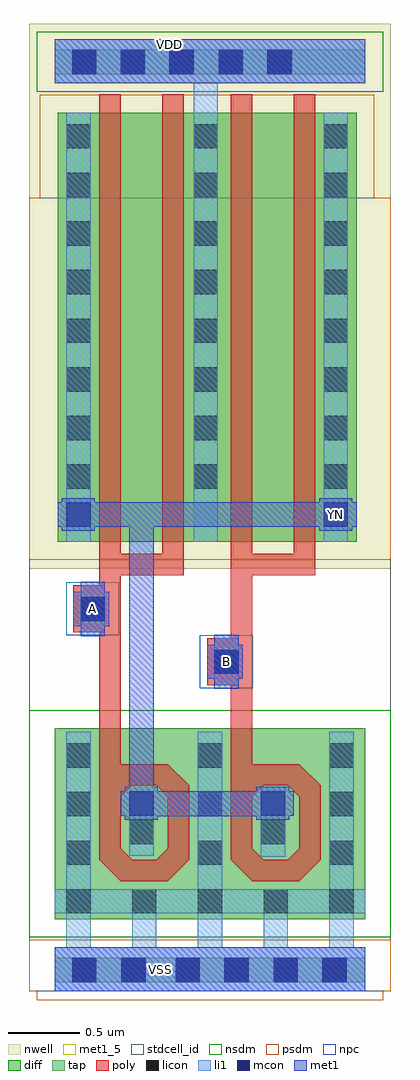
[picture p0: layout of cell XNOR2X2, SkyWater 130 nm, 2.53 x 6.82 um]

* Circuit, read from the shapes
.subckt XNOR2X2 A B VDD VSS YN
XM1 VSS A YN VSS sky130_fd_pr__nfet_01v8 w=2.475 l=0.1489
XM2 VSS B YN VSS sky130_fd_pr__nfet_01v8 w=2.475 l=0.1507
XM3 n1 A YN VDD sky130_fd_pr__pfet_01v8 w=3 l=0.15
XM4 VDD A n1 VDD sky130_fd_pr__pfet_01v8 w=3 l=0.15
XM5 n2 B VDD VDD sky130_fd_pr__pfet_01v8 w=3 l=0.15
XM6 YN B n2 VDD sky130_fd_pr__pfet_01v8 w=3 l=0.15
.ends

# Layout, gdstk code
import gdstk
lib = gdstk.Library(unit=1e-6, precision=1e-09)
def R(c, l, rs):  # rectangles x0, y0, x1, y1
    for r in rs: c.add(gdstk.rectangle(r[:2], r[2:], *l))
def A(c, l, x, y, w, h, nx, ny, dx, dy):  # array of equal rectangles
    R(c, l, [(x+i*dx, y+j*dy, x+i*dx+w, y+j*dy+h) for i in range(nx) for j in range(ny)])
def P(c, l, *ps):  # polygons
    for p in ps: c.add(gdstk.Polygon(p, *l))
nwell = (64, 20)
diff = (65, 20)
tap = (65, 44)
poly = (66, 20)
licon = (66, 44)
li1 = (67, 20)
mcon = (67, 44)
met1_5 = (68, 5)
met1 = (68, 20)
stdcell_id = (81, 4)
nsdm = (93, 44)
psdm = (94, 20)
npc = (95, 20)

xnor2x2 = lib.new_cell('XNOR2X2')
R(xnor2x2, nwell, [(-0.18,2.955,2.35,6.765)])
R(xnor2x2, diff, [(0,0.505,2.17,1.84), (0.02,3.145,2.11,6.145)])
R(xnor2x2, tap, [(0,0.065,2.17,0.235), (0,6.415,2.17,6.585)])
R(xnor2x2, poly, [(0.46,0.77,0.79,0.92), (1.38,0.77,1.71,0.92), (0.31,0.92,0.46,1.44), (0.79,0.92,0.94,1.44), (1.23,0.92,1.38,1.44), (1.71,0.92,1.86,1.44), (0.31,1.44,0.79,1.59), (1.23,1.44,1.71,1.59), (0.31,1.59,0.46,2.51), (1.23,1.59,1.38,2.14), (1.065,2.14,1.38,2.47), (1.23,2.47,1.38,2.91), (0.13,2.51,0.46,2.84), (0.31,2.84,0.46,2.91), (0.31,2.91,0.9,3.06), (1.23,2.91,1.82,3.06), (0.31,3.06,0.46,6.275), (0.75,3.06,0.9,6.275), (1.23,3.06,1.38,6.275), (1.67,3.06,1.82,6.275)])
P(xnor2x2, poly, [(0.79,1.59),(0.79,1.44),(0.94,1.44)],
  [(0.46,1.36),(0.46,1.44),(0.54,1.44)],
  [(0.71,1.44),(0.79,1.44),(0.79,1.36)],
  [(0.46,1),(0.46,0.92),(0.54,0.92)],
  [(0.71,0.92),(0.79,0.92),(0.79,1)],
  [(0.31,0.92),(0.46,0.92),(0.46,0.77)],
  [(0.79,0.77),(0.79,0.92),(0.94,0.92)],
  [(1.71,1.59),(1.71,1.44),(1.86,1.44)],
  [(1.38,1.36),(1.38,1.44),(1.46,1.44)],
  [(1.63,1.44),(1.71,1.44),(1.71,1.36)],
  [(1.38,1),(1.38,0.92),(1.46,0.92)],
  [(1.63,0.92),(1.71,0.92),(1.71,1)],
  [(1.23,0.92),(1.38,0.92),(1.38,0.77)],
  [(1.71,0.77),(1.71,0.92),(1.86,0.92)])
A(xnor2x2, licon, 0.08, 0.545, 0.17, 0.17, 5, 1, 0.46, 0)
A(xnor2x2, licon, 0.08, 0.885, 0.17, 0.17, 3, 3, 0.92, 0.34)
A(xnor2x2, licon, 0.08, 3.515, 0.17, 0.17, 1, 8, 0, 0.34)
A(xnor2x2, licon, 0.97, 3.515, 0.17, 0.17, 1, 8, 0, 0.34)
A(xnor2x2, licon, 1.88, 3.515, 0.17, 0.17, 1, 8, 0, 0.34)
A(xnor2x2, licon, 0.12, 6.415, 0.17, 0.17, 3, 1, 0.34, 0)
R(xnor2x2, licon, [(0.12,0.065,0.29,0.235), (0.465,0.065,0.635,0.235), (0.845,0.065,1.015,0.235), (1.185,0.065,1.355,0.235), (1.53,0.065,1.7,0.235), (1.87,0.065,2.04,0.235), (0.52,1.03,0.69,1.2), (1.44,1.03,1.61,1.2), (1.115,2.22,1.285,2.39), (0.18,2.59,0.35,2.76), (1.145,6.415,1.315,6.585), (1.485,6.415,1.655,6.585)])
A(xnor2x2, li1, 0.08, 0.31, 0.17, 0.235, 5, 1, 0.46, 0)
A(xnor2x2, li1, 0.08, 0.715, 0.17, 1.1, 3, 1, 0.92, 0)
R(xnor2x2, li1, [(0,0,2.17,0.31), (0,0.545,2.17,0.715), (1.44,0.94,1.61,1.43), (0.52,0.95,0.69,1.4), (1.115,2.14,1.285,2.47), (0.18,2.51,0.35,2.84), (0.08,3.145,0.25,6.145), (0.97,3.145,1.14,6.35), (1.88,3.145,2.05,6.145), (0,6.35,2.17,6.66)])
A(xnor2x2, mcon, 0.12, 6.415, 0.17, 0.17, 3, 1, 0.34, 0)
R(xnor2x2, mcon, [(0.12,0.065,0.29,0.235), (0.465,0.065,0.635,0.235), (0.845,0.065,1.015,0.235), (1.185,0.065,1.355,0.235), (1.53,0.065,1.7,0.235), (1.87,0.065,2.04,0.235), (0.52,1.23,0.69,1.4), (1.44,1.23,1.61,1.4), (1.115,2.22,1.285,2.39), (0.18,2.59,0.35,2.76), (0.08,3.25,0.25,3.42), (1.88,3.25,2.05,3.42), (1.145,6.415,1.315,6.585), (1.485,6.415,1.655,6.585)])
R(xnor2x2, met1_5, [(1.115,2.22,1.285,2.39), (0.18,2.59,0.35,2.76), (1.88,3.25,2.05,3.42)])
R(xnor2x2, met1, [(0,0,2.17,0.31), (0.49,1.2,0.72,1.225), (1.41,1.2,1.64,1.225), (0.49,1.225,1.64,1.23), (0.46,1.23,1.67,1.4), (0.49,1.4,0.72,1.43), (1.41,1.4,1.64,1.43), (0.52,1.43,0.69,3.25), (1.115,2.115,1.285,2.185), (1.065,2.185,1.315,2.425), (1.115,2.425,1.285,2.495), (0.18,2.485,0.35,2.555), (0.13,2.555,0.38,2.795), (0.18,2.795,0.35,2.865), (0.05,3.22,0.28,3.25), (1.85,3.22,2.08,3.25), (0.02,3.25,2.11,3.42), (0.05,3.42,0.28,3.45), (1.85,3.42,2.08,3.45), (0,6.35,2.17,6.66)])
R(xnor2x2, stdcell_id, [(-0.18,0,2.35,5.55)])
R(xnor2x2, nsdm, [(-0.18,0.38,2.35,1.965), (-0.125,6.29,2.295,6.71)])
R(xnor2x2, psdm, [(-0.125,-0.06,2.295,0), (-0.18,0,2.35,0.36), (-0.18,3.02,2.35,5.55), (-0.105,5.55,2.235,6.27)])
R(xnor2x2, npc, [(1.015,2.12,1.385,2.49), (0.08,2.49,0.45,2.86)])
xnor2x2.add(gdstk.Label('VDD', (0.805,6.625), layer=68, texttype=5))
xnor2x2.add(gdstk.Label('VSS', (0.74,0.155), layer=68, texttype=5))
xnor2x2.add(gdstk.Label('A', (0.265,2.675), layer=68, texttype=5))
xnor2x2.add(gdstk.Label('B', (1.2,2.305), layer=68, texttype=5))
xnor2x2.add(gdstk.Label('YN', (1.965,3.335), layer=68, texttype=5))

lib.write_gds('XNOR2X2.gds')
